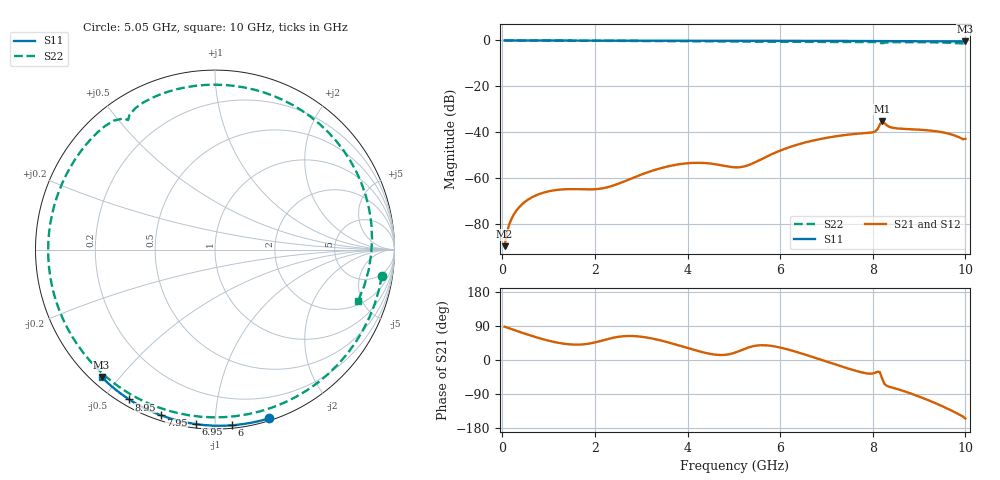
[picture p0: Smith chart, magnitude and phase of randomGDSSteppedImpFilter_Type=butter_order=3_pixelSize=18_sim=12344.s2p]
! freq	dB(S11)	phase(S11)	dB(S12)	phase(S12)
!  dB(S21)	phase(S21)	dB(S22)	phase(S22)
!S-par simulation data
#  GHz  S  DB  R 50
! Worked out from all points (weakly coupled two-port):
!   200 points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, 50 MHz to 10 GHz, reference 50 ohm
!   highest |S21| = -35.06 dB at 8.2 GHz (marker M1); lowest = -89.5 dB at 50 MHz (marker M2)
!   lowest |S11| = -0.4 dB at 10 GHz (marker M3), VSWR 39.14, Z = 1.53 - j22.4 ohm
!   |S11| at or under -10 dB: nowhere
!   |S22| runs from -1.4 to 0.0 dB; largest |S21 - S12| = 0
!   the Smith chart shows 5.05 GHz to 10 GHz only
!   S11 on the Smith chart (normalised r, x): 5.05 GHz: 0.02, -1.37; 6 GHz: 0.02, -1.10; 6.95 GHz: 0.02, -0.90; 7.95 GHz: 0.02, -0.72; 8.95 GHz: 0.03, -0.58; 10 GHz: 0.03, -0.45
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0.05  -0.00 -0.8  -89.55 87.9  -89.55 87.9  -0.00 -3.6
0.15  -0.00 -2.3  -80.05 83.6  -80.05 83.6  -0.01 -10.8
0.5  -0.01 -7.6  -70.08 69.0  -70.08 69.0  -0.05 -35.6
0.95  -0.02 -14.4  -65.92 52.5  -65.92 52.5  -0.08 -66.4
1.75  -0.03 -26.3  -64.81 41.3  -64.81 41.3  -0.14 -117.7
2.6  -0.05 -38.6  -61.63 62.6  -61.63 62.6  -0.19 -169.5
3.4  -0.07 -50.0  -55.73 52.2  -55.73 52.2  -0.26 138.0
3.85  -0.08 -56.2  -53.80 37.1  -53.80 37.1  -0.33 103.7
4.2  -0.09 -61.0  -53.26 24.6  -53.26 24.6  -0.39 73.6
4.65  -0.10 -67.1  -54.04 13.5  -54.04 13.5  -0.47 30.9
5.05  -0.11 -72.4  -55.24 20.5  -55.24 20.5  -0.53 -9.0
5.55  -0.13 -78.8  -52.14 38.7  -52.14 38.7  -0.57 -56.9
6  -0.15 -84.6  -47.95 32.9  -47.95 32.9  -0.59 -95.1
6.7  -0.18 -93.2  -43.63 8.0  -43.63 8.0  -0.61 -145.3
6.95  -0.19 -96.3  -42.58 -2.0  -42.58 -2.0  -0.62 -161.3
7.45  -0.22 -102.3  -41.04 -21.8  -41.04 -21.8  -0.64 168.3
7.95  -0.26 -108.2  -40.12 -36.2  -40.12 -36.2  -0.67 138.1
8.2  -0.28 -111.1  -35.06 -48.0  -35.06 -48.0  -1.22 123.9
8.35  -0.29 -112.9  -37.50 -70.3  -37.50 -70.3  -0.80 116.0
8.95  -0.34 -119.8  -38.77 -94.2  -38.77 -94.2  -0.75 76.3
9.6  -0.40 -127.2  -40.39 -127.5  -40.39 -127.5  -0.96 24.3
10  -0.44 -131.7  -42.82 -154.4  -42.82 -154.4  -1.44 -19.9
